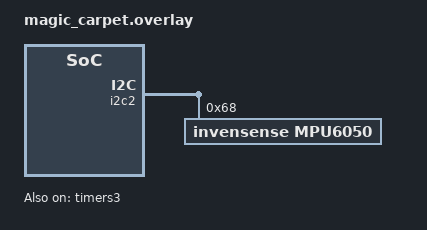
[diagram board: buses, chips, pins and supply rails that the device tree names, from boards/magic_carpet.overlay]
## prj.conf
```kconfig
#
# Copyright (c) 2019 Nordic Semiconductor ASA
#
# SPDX-License-Identifier: Apache-2.0
#

CONFIG_CPP=y
CONFIG_FLASH=y
CONFIG_FLASH_PAGE_LAYOUT=y
CONFIG_I2C=y
CONFIG_SENSOR=y
CONFIG_MPU6050_TRIGGER_NONE=y
CONFIG_UART_CONSOLE=n
CONFIG_RTT_CONSOLE=y
CONFIG_USE_SEGGER_RTT=y
CONFIG_NEWLIB_LIBC=y
CONFIG_NEWLIB_LIBC_FLOAT_PRINTF=y
```

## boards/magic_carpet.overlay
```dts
/ {
    aliases {
        qdec0 = &qdec;
    };
};

&timers3 {
    status = "okay";
    qdec: qdec {
        compatible = "stm32,st-qdec";
        pinctrl-0 = <&tim3_ch3_pb0 &tim3_ch4_pb1>;
        pinctrl-names = "default";
        st,input-polarity-inverted;
        st,counts-per-revolution = <16>;
        status = "okay";
    }
};
&i2c2 {
	mpu6050@68 {
		compatible = "invensense,mpu6050";
		reg = <0x68>;
		status = "okay";
	};
};
```

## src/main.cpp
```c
/*
 * Copyright (c) 2019 Nordic Semiconductor ASA
 *
 * SPDX-License-Identifier: Apache-2.0
 */

#include <zephyr/kernel.h>
#include <zephyr/device.h>
#include <zephyr/drivers/sensor.h>
#include <stdio.h>
#include <string.h>
#include <math.h>

#include <zephyr/logging/log.h>
#include "Kalman.h"

LOG_MODULE_REGISTER(cdc_acm_echo, LOG_LEVEL_INF);

#define RAD_TO_DEG 57.29578

double accX, accY, accZ;
double gyroX, gyroY, gyroZ;
double temp;

Kalman kalmanX;
Kalman kalmanY;
double kalAngleX, kalAngleY; // Calculated angle using a Kalman filter

static bool rx_throttled;

static const char *now_str(void)
{
	static char buf[16]; /* ...HH:MM:SS.MMM */
	uint32_t now = k_uptime_get_32();
	unsigned int ms = now % MSEC_PER_SEC;
	unsigned int s;
	unsigned int min;
	unsigned int h;

	now /= MSEC_PER_SEC;
	s = now % 60U;
	now /= 60U;
	min = now % 60U;
	now /= 60U;
	h = now;

	snprintf(buf, sizeof(buf), "%u:%02u:%02u.%03u",
			 h, min, s, ms);
	return buf;
}

static int process_mpu6050(const struct device *dev)
{
	struct sensor_value temperature;
	struct sensor_value accel[3];
	struct sensor_value gyro[3];
	int rc = sensor_sample_fetch(dev);

	if (rc == 0)
	{
		rc = sensor_channel_get(dev, SENSOR_CHAN_ACCEL_XYZ,
								accel);
	}
	if (rc == 0)
	{
		rc = sensor_channel_get(dev, SENSOR_CHAN_GYRO_XYZ,
								gyro);
	}
	if (rc == 0)
	{
		rc = sensor_channel_get(dev, SENSOR_CHAN_DIE_TEMP,
								&temperature);
	}

	accX = sensor_value_to_double(&accel[0]),
	accY = sensor_value_to_double(&accel[1]),
	accZ = sensor_value_to_double(&accel[2]),
	gyroX = sensor_value_to_double(&gyro[0]),
	gyroY = sensor_value_to_double(&gyro[1]),
	gyroZ = sensor_value_to_double(&gyro[2]);
	temp = sensor_value_to_double(&temperature);

	if (rc == 0)
	{
#ifdef DEBUG
		printf("[%s]:%g Cel"
			   "  accel %f %f %f m/s/s"
			   "  gyro  %f %f %f rad/s\n",
			   now_str(),
			   temp,
			   accX, accY, accZ,
			   gyroX, gyroY, gyroZ);
#endif
	}
	else
	{
		LOG_ERR("sample fetch/get failed: %d\n", rc);
	}

	return rc;
}

#ifdef CONFIG_MPU6050_TRIGGER
static struct sensor_trigger trigger;

static void handle_mpu6050_drdy(const struct device *dev,
								const struct sensor_trigger *trig)
{
	int rc = process_mpu6050(dev);

	if (rc != 0)
	{
		printf("cancelling trigger due to failure: %d\n", rc);
		(void)sensor_trigger_set(dev, trig, NULL);
		return;
	}
}
#endif /* CONFIG_MPU6050_TRIGGER */


int main(void)
{
	const struct device *const mpu6050 = DEVICE_DT_GET_ONE(invensense_mpu6050);
	// const struct device *const qdec = DEVICE_DT_GET(DT_ALIAS(qdec0));

	if (!device_is_ready(mpu6050))
	{
		LOG_WRN("Device %s is not ready\n", mpu6050->name);
		return 0;
	}

	if (!device_is_ready(qdec)) {
		LOG_WRN("Device qdec is not ready\n");
		return 0;
	}

#ifdef CONFIG_MPU6050_TRIGGER
	trigger = (struct sensor_trigger){
		.type = SENSOR_TRIG_DATA_READY,
		.chan = SENSOR_CHAN_ALL,
	};
	if (sensor_trigger_set(mpu6050, &trigger,
						   handle_mpu6050_drdy) < 0)
	{
		LOG_WRN("Cannot configure trigger\n");
		return 0;
	}
	printf("Configured for triggered sampling.\n");
#endif
	process_mpu6050(mpu6050);
#ifdef RESTRICT_PITCH // Eq. 25 and 26
	double roll = atan2(accY, accZ) * RAD_TO_DEG;
	double pitch = atan(-accX / sqrt(accY * accY + accZ * accZ)) * RAD_TO_DEG;
#else // Eq. 28 and 29
	double roll = atan(accY / sqrt(accX * accX + accZ * accZ)) * RAD_TO_DEG;
	double pitch = atan2(-accX, accZ) * RAD_TO_DEG;
#endif
	kalmanX.setAngle(roll); // Set starting angle
	kalmanY.setAngle(pitch);

	uint32_t start_cycles, end_cycles, delta_cycles;
	uint64_t delta_time_us;
	double dt;
	double gyroXrate, gyroYrate;

	start_cycles = k_cycle_get_32();
	while (!IS_ENABLED(CONFIG_MPU6050_TRIGGER))
	{
		end_cycles = k_cycle_get_32();
		delta_cycles = end_cycles - start_cycles;
		delta_time_us = k_cyc_to_us_floor64(delta_cycles);
		dt = (double)delta_time_us / 1000000.0;
		start_cycles = k_cycle_get_32();
		int rc = process_mpu6050(mpu6050);

		if (rc != 0)
		{
			break;
		}
#ifdef RESTRICT_PITCH // Eq. 25 and 26
		roll = atan2(accY, accZ) * RAD_TO_DEG;
		pitch = atan(-accX / sqrt(accY * accY + accZ * accZ)) * RAD_TO_DEG;
#else // Eq. 28 and 29
		roll = atan(accY / sqrt(accX * accX + accZ * accZ)) * RAD_TO_DEG;
		pitch = atan2(-accX, accZ) * RAD_TO_DEG;
#endif
		gyroXrate = gyroX / 131.0; // Convert to deg/s
		gyroYrate = gyroY / 131.0; // Convert to deg/s

#ifdef RESTRICT_PITCH
		// This fixes the transition problem when the accelerometer angle jumps between -180 and 180 degrees
		if ((roll < -90 && kalAngleX > 90) || (roll > 90 && kalAngleX < -90))
		{
			kalmanX.setAngle(roll);
			kalAngleX = roll;
		}
		else
			kalAngleX = kalmanX.getAngle(roll, gyroXrate, dt); // Calculate the angle using a Kalman filter

		if (abs(kalAngleX) > 90)
			gyroYrate = -gyroYrate; // Invert rate, so it fits the restriced accelerometer reading
		kalAngleY = kalmanY.getAngle(pitch, gyroYrate, dt);
#else
		// This fixes the transition problem when the accelerometer angle jumps between -180 and 180 degrees
		if ((pitch < -90 && kalAngleY > 90) || (pitch > 90 && kalAngleY < -90))
		{
			kalmanY.setAngle(pitch);
			kalAngleY = pitch;
		}
		else
			kalAngleY = kalmanY.getAngle(pitch, gyroYrate, dt); // Calculate the angle using a Kalman filter

		if (abs(kalAngleY) > 90)
			gyroXrate = -gyroXrate;						   // Invert rate, so it fits the restriced accelerometer reading
		kalAngleX = kalmanX.getAngle(roll, gyroXrate, dt); // Calculate the angle using a Kalman filter
#endif

		// printf(" Angle X: %f\tAngle Y: %f\n", kalAngleX, kalAngleY);
		// printf("%f\n", kalAngleY);


		struct sensor_value val;
		rc = sensor_sample_fetch(qdec);
		if (rc != 0) {
			printf("Failed to fetch sample (%d)\n", rc);
			return 0;
		}

		rc = sensor_channel_get(qdec, SENSOR_CHAN_ROTATION, &val);
		if (rc != 0) {
			printf("Failed to get data (%d)\n", rc);
			return 0;
		// }

		printf("Position = %d degrees\n", val.val1);

		k_sleep(K_MSEC(100));
	}

	/* triggered runs with its own thread after exit */
	return 0;
}
```

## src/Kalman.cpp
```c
/* Copyright (C) 2012 Kristian Lauszus, TKJ Electronics. All rights reserved.

 This software may be distributed and modified under the terms of the GNU
 General Public License version 2 (GPL2) as published by the Free Software
 Foundation and appearing in the file GPL2.TXT included in the packaging of
 this file. Please note that GPL2 Section 2[b] requires that all works based
 on this software must also be made publicly available under the terms of
 the GPL2 ("Copyleft").

 Contact information
 -------------------

 Kristian Lauszus, TKJ Electronics
 Web      :  http://www.tkjelectronics.com
 e-mail   :  kristianl@tkjelectronics.com
 */

#include "Kalman.h"
#include <stdio.h>

Kalman::Kalman() {
    /* We will set the variables like so, these can also be tuned by the user */
    Q_angle = 0.001f;
    Q_bias = 0.003f;
    R_measure = 0.03f;

    angle = 0.0f; // Reset the angle
    bias = 0.0f; // Reset bias

    P[0][0] = 0.0f; // Since we assume that the bias is 0 and we know the starting angle (use setAngle), the error covariance matrix is set like so - see: http://en.wikipedia.org/wiki/Kalman_filter#Example_application.2C_technical
    P[0][1] = 0.0f;
    P[1][0] = 0.0f;
    P[1][1] = 0.0f;
};

// The angle should be in degrees and the rate should be in degrees per second and the delta time in seconds
float Kalman::getAngle(float newAngle, float newRate, float dt) {
    // KasBot V2  -  Kalman filter module - http://www.x-firm.com/?page_id=145
    // Modified by Kristian Lauszus
    // See my blog post for more information: http://blog.tkjelectronics.dk/2012/09/a-practical-approach-to-kalman-filter-and-how-to-implement-it

    // Discrete Kalman filter time update equations - Time Update ("Predict")
    // Update xhat - Project the state ahead
    /* Step 1 */
    rate = newRate - bias;
    angle += dt * rate;

    // Update estimation error covariance - Project the error covariance ahead
    /* Step 2 */
    P[0][0] += dt * (dt*P[1][1] - P[0][1] - P[1][0] + Q_angle);
    P[0][1] -= dt * P[1][1];
    P[1][0] -= dt * P[1][1];
    P[1][1] += Q_bias * dt;

    // Discrete Kalman filter measurement update equations - Measurement Update ("Correct")
    // Calculate Kalman gain - Compute the Kalman gain
    /* Step 4 */
    float S = P[0][0] + R_measure; // Estimate error
    /* Step 5 */
    float K[2]; // Kalman gain - This is a 2x1 vector
    K[0] = P[0][0] / S;
    K[1] = P[1][0] / S;

    // Calculate angle and bias - Update estimate with measurement zk (newAngle)
    /* Step 3 */
    float y = newAngle - angle; // Angle difference
    /* Step 6 */
    angle += K[0] * y;
    bias += K[1] * y;

    // Calculate estimation error covariance - Update the error covariance
    /* Step 7 */
    float P00_temp = P[0][0];
    float P01_temp = P[0][1];

    P[0][0] -= K[0] * P00_temp;
    P[0][1] -= K[0] * P01_temp;
    P[1][0] -= K[1] * P00_temp;
    P[1][1] -= K[1] * P01_temp;
    
    //print all variables
    // printf("angle: %f, bias: %f, rate: %f, P[0][0]: %f, P[0][1]: %f, P[1][0]: %f, P[1][1]: %f\n", angle, bias, rate, P[0][0], P[0][1], P[1][0], P[1][1]);
    return angle;
};

void Kalman::setAngle(float angle) { this->angle = angle; }; // Used to set angle, this should be set as the starting angle
float Kalman::getRate() { return this->rate; }; // Return the unbiased rate

/* These are used to tune the Kalman filter */
void Kalman::setQangle(float Q_angle) { this->Q_angle = Q_angle; };
void Kalman::setQbias(float Q_bias) { this->Q_bias = Q_bias; };
void Kalman::setRmeasure(float R_measure) { this->R_measure = R_measure; };

float Kalman::getQangle() { return this->Q_angle; };
float Kalman::getQbias() { return this->Q_bias; };
float Kalman::getRmeasure() { return this->R_measure; };
```
